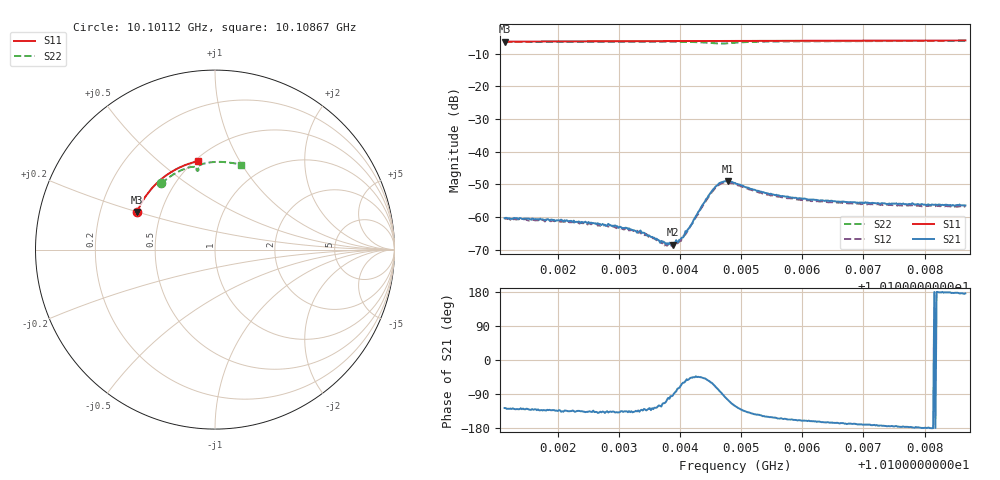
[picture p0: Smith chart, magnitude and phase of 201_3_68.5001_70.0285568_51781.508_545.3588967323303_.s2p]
#  HZ  S  RI  R  50.00
! Rohde & Schwarz Vector Network Analyzer
! Rohde-Schwarz,ZNB20-2Port,1311601062101988,3.16
! Created: UTC 3/20/2024, 4:57:38 PM
! freq[Hz]  re:S11  im:S11  re:S21  im:S21  re:S12  im:S12  re:S22  im:S22
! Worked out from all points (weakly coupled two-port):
!   401 points, 10.10112 GHz to 10.10867 GHz, reference 50 ohm
!   highest |S21| = -49.06 dB at 10.10478 GHz (marker M1); lowest = -68.5 dB at 10.10388 GHz (marker M2)
!   lowest |S11| = -6.3 dB at 10.10112 GHz (marker M3), VSWR 2.86, Z = 18.3 + j10 ohm
!   |S11| at or under -10 dB: nowhere
!   |S22| runs from -6.9 to -6.1 dB; largest |S21 - S12| = 0.00035
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1.0101122e10  -0.434 0.2104  -0.000572 -0.000766  -0.000493 -0.000785  -0.2997 0.3683
1.0101952e10  -0.4121 0.2559  -0.0006 -0.000631  -0.000541 -0.000678  -0.2575 0.402
1.0102386e10  -0.3985 0.2786  -0.000595 -0.000593  -0.000516 -0.000617  -0.2338 0.4176
1.0102858e10  -0.3826 0.3026  -0.000539 -0.000516  -0.000461 -0.000517  -0.2067 0.4329
1.0103141e10  -0.3723 0.3162  -0.000485 -0.000439  -0.000456 -0.000483  -0.1896 0.4412
1.0103254e10  -0.368 0.3219  -0.000444 -0.000428  -0.000404 -0.000482  -0.1826 0.4444
1.0103386e10  -0.363 0.3279  -0.000393 -0.000419  -0.000348 -0.000441  -0.1743 0.448
1.010365e10  -0.3527 0.3402  -0.000218 -0.00038  -0.000223 -0.000386  -0.1568 0.4543
1.0103783e10  -0.3475 0.3462  -0.000101 -0.000383  -7.98e-05 -0.000352  -0.1476 0.4571
1.0103877e10  -0.3436 0.3504  -2.46e-05 -0.000376  1.59e-05 -0.000383  -0.1407 0.4588
1.0103971e10  -0.3396 0.3545  0.000113 -0.000405  0.000153 -0.000379  -0.1334 0.4603
1.0104066e10  -0.3356 0.3587  0.000268 -0.000449  0.000296 -0.00043  -0.1262 0.4612
1.0104179e10  -0.3308 0.3635  0.000517 -0.000545  0.000545 -0.000533  -0.1168 0.4614
1.0104386e10  -0.3217 0.3722  0.00108 -0.00121  0.00115 -0.0011  -0.0991 0.4566
1.0104556e10  -0.3141 0.3791  0.00108 -0.00251  0.00125 -0.00235  -0.0915 0.4446
1.0104669e10  -0.3092 0.3837  0.000223 -0.00338  0.000465 -0.00322  -0.0962 0.4389
1.0104783e10  -0.3039 0.3881  -0.000994 -0.00338  -0.000662 -0.00331  -0.1027 0.4429
1.0104896e10  -0.2988 0.3926  -0.00171 -0.00284  -0.00142 -0.00286  -0.1028 0.4521
1.0105443e10  -0.2727 0.413  -0.00197 -0.00113  -0.0018 -0.00126  -0.0677 0.4774
1.010616e10  -0.2362 0.4368  -0.00174 -0.000574  -0.00161 -0.000689  -0.0183 0.4869
1.0107424e10  -0.1676 0.4704  -0.0016 -0.000145  -0.0015 -0.000286  0.0645 0.4868
1.010867e10  -0.0955 0.4925  -0.00149 0.000113  -0.00142 -5.09e-05  0.1429 0.4727
